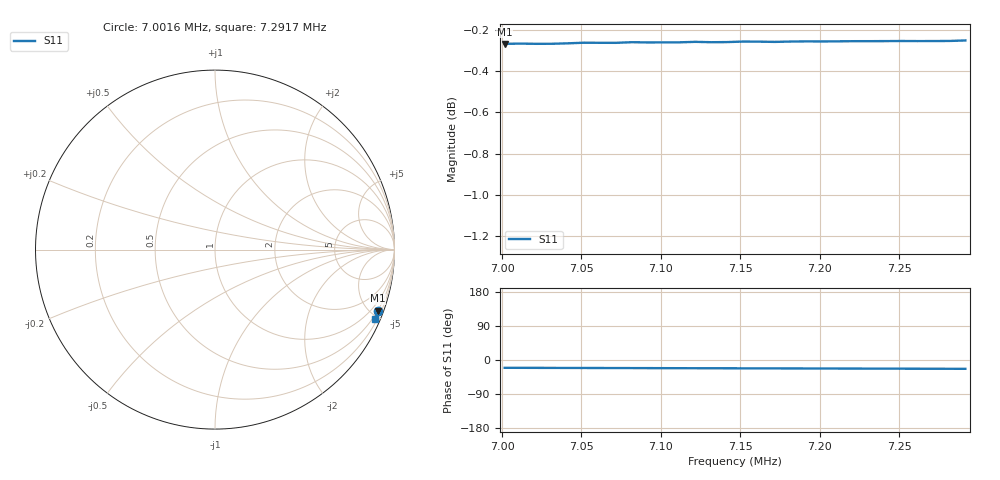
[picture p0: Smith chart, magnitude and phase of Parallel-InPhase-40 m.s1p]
# HZ S RI R 50
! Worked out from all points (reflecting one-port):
!   30 points, 7.0016 MHz to 7.2917 MHz, reference 50 ohm
!   lowest |S11| = -0.3 dB at 7.0016 MHz (marker M1), VSWR 65.18, Z = 23.9 - j273 ohm
!   phase of S11 starts at -21 deg and turns -3 deg over the sweep
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7001600  0.9079 -0.341
7011604  0.9074 -0.3425
7021608  0.9068 -0.3439
7031612  0.9062 -0.3454
7041616  0.9058 -0.3471
7051620  0.9056 -0.3486
7061624  0.905 -0.35
7071628  0.9044 -0.3516
7081632  0.9042 -0.3531
7091636  0.9035 -0.3545
7101640  0.9029 -0.356
7111644  0.9023 -0.3575
7121648  0.902 -0.3591
7131652  0.9013 -0.3604
7141656  0.9007 -0.3619
7151660  0.9004 -0.3635
7161664  0.8998 -0.3649
7171668  0.8991 -0.3662
7181672  0.8987 -0.3678
7191676  0.8982 -0.3693
7201680  0.8975 -0.3707
7211684  0.897 -0.3722
7221688  0.8965 -0.3736
7251700  0.8947 -0.378
7261704  0.8941 -0.3794
7271708  0.8935 -0.3809
7281712  0.8929 -0.3824
7291716  0.8926 -0.3839
